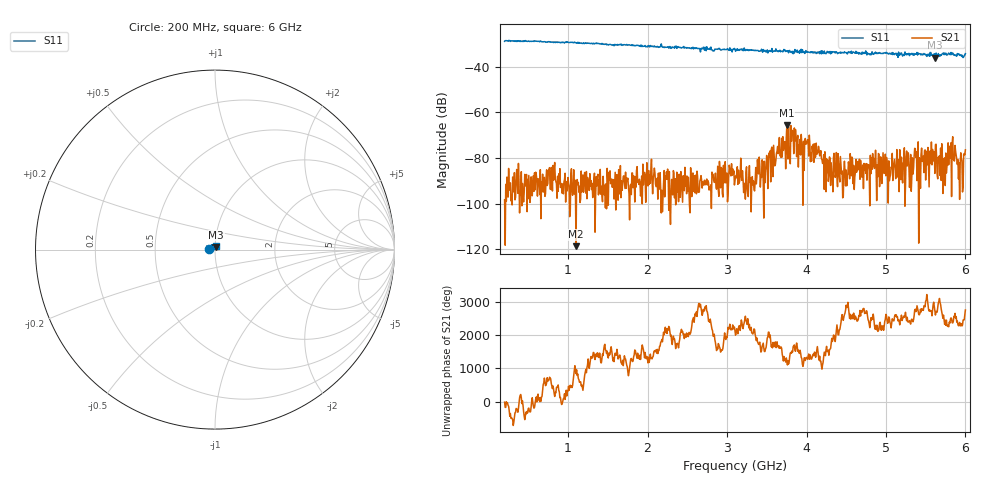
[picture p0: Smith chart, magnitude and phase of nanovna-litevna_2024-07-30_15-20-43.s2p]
! NanoVNA-App by OneOfEleven et al v1.1.209 (+OD15)
! Date: 2024-07-30 15:20:46
! Start: 200MHz Stop: 6GHz Points: 801
! S-Parameter data: F S11 S21 S12 S22
# Hz S RI R 50
!  Frequency  S11_Real  S11_Imag  S21_Real  S21_Imag  S12_Real  S12_Imag  S22_Real  S22_Imag
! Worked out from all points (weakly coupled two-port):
!   801 points, 200 MHz to 6 GHz, reference 50 ohm
!   highest |S21| = -65.63 dB at 3.752 GHz (marker M1); lowest = -118.6 dB at 1.099 GHz (marker M2)
!   lowest |S11| = -36.1 dB at 5.616 GHz (marker M3), VSWR 1.03, Z = 50.7 + j1.41 ohm
!   |S11| at or under -10 dB: start of sweep to end of sweep
!   S12 and S22 are empty: the file has one direction only
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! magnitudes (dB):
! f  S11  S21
! 200 MHz  -28.8  -98.3
! 1.099 GHz  -29.5  -118.6
! 1.171 GHz  -29.7  -94.8
! 2.136 GHz  -31.5  -86.6
! 3.1 GHz  -32.3  -89.9
! 3.491 GHz  -33.6  -84.3
! 3.6 GHz  -33.1  -83.4
! 3.752 GHz  -33.2  -65.6
! 3.767 GHz  -33.0  -80.4
! 3.803 GHz  -33.7  -65.8
! 3.811 GHz  -33.3  -72.7
! 3.832 GHz  -34.3  -68.5
! 3.926 GHz  -33.6  -78.6
! 4.006 GHz  -33.7  -72.8
! 4.072 GHz  -33.8  -74.8
! 4.267 GHz  -33.4  -80.8
! 5.036 GHz  -34.2  -81.2
! 5.616 GHz  -36.1  -86.7
! 5.746 GHz  -34.5  -92.0
! 5.811 GHz  -34.7  -80.0
! 5.942 GHz  -34.8  -77.7
! 6 GHz  -34.3  -76.4
